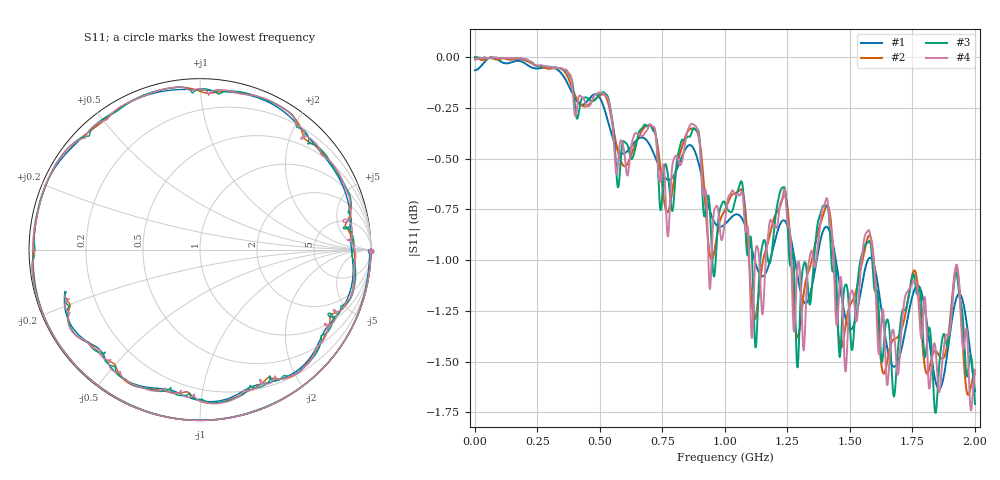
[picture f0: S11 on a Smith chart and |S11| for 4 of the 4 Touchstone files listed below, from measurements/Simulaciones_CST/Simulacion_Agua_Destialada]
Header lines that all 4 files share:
! TOUCHSTONE file generated by CST MICROWAVE STUDIO
! Project name: Sonda-Coaxial_21mm_DisifixB_v2_Agua_Dest.cst
! Header version: 2018
! Port assignment regex: !\s*Touchstone port\s*([0-9]+)\s*=\s*(CST MWS port|CST DS port)\s*([0-9]+|Zmin|Zmax)\s*\(\"(.*)\"\)(\s*mode\s*([0-9]+))?.*
! Touchstone port assignment:
! Touchstone port 1 = CST MWS port 1 ("")
# GHz S RI R 50
Fixed: h_recipiente = 20, l_conector = 50, r_arandela = 35, r_ext = 10.5, r_int = 3, r_recipiente = 100
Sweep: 1 MHz to 2 GHz
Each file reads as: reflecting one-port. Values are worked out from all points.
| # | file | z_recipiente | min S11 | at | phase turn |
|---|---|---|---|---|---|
| 1 | Sonda-Coaxial_21mm_DisifixB_v2_Agua_Dest_1.s1p | -10 | -1.6 dB | 2 GHz | -522 deg |
| 2 | Sonda-Coaxial_21mm_DisifixB_v2_Agua_Dest_2.s1p | -30 | -1.7 dB | 1.972 GHz | -521 deg |
| 3 | Sonda-Coaxial_21mm_DisifixB_v2_Agua_Dest_4.s1p | -80 | -1.8 dB | 1.842 GHz | -522 deg |
| 4 | Sonda-Coaxial_21mm_DisifixB_v2_Agua_Dest_5.s1p | -100 | -1.7 dB | 1.984 GHz | -521 deg |
